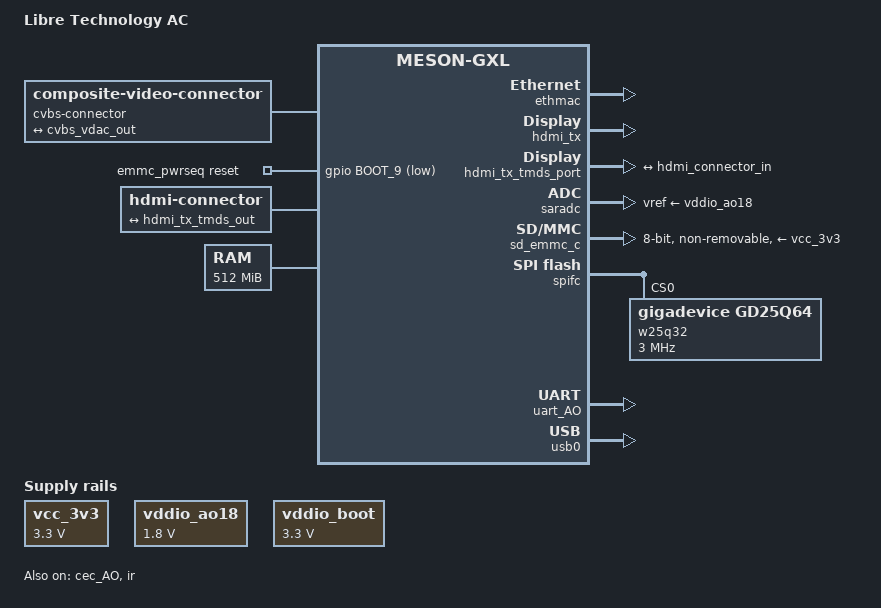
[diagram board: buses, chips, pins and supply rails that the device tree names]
// SPDX-License-Identifier: (GPL-2.0+ OR MIT)
/*
 * Copyright (c) 2018 BayLibre, SAS.
 * Author: Neil Armstrong <narmstrong@baylibre.com>
 * Author: Jerome Brunet <jbrunet@baylibre.com>
 */

/dts-v1/;

#include <dt-bindings/input/input.h>

#include "meson-gxl-s805x.dtsi"

/ {
	compatible = "libretech,ac", "amlogic,s805x", "amlogic,meson-gxl";
	model = "Libre Technology AC";

	aliases {
		serial0 = &uart_AO;
		ethernet0 = &ethmac;
		spi0 = &spifc;
	};

	chosen {
		stdout-path = "serial0:115200n8";
	};

	cvbs-connector {
		compatible = "composite-video-connector";

		port {
			cvbs_connector_in: endpoint {
				remote-endpoint = <&cvbs_vdac_out>;
			};
		};
	};

	emmc_pwrseq: emmc-pwrseq {
		compatible = "mmc-pwrseq-emmc";
		reset-gpios = <&gpio BOOT_9 GPIO_ACTIVE_LOW>;
	};

	hdmi-connector {
		compatible = "hdmi-connector";
		type = "a";

		port {
			hdmi_connector_in: endpoint {
				remote-endpoint = <&hdmi_tx_tmds_out>;
			};
		};
	};

	memory@0 {
		device_type = "memory";
		reg = <0x0 0x0 0x0 0x20000000>;
	};

	vcc_3v3: regulator-vcc_3v3 {
		compatible = "regulator-fixed";
		regulator-name = "VCC_3V3";
		regulator-min-microvolt = <3300000>;
		regulator-max-microvolt = <3300000>;
	};

	vddio_ao18: regulator-vddio_ao18 {
		compatible = "regulator-fixed";
		regulator-name = "VDDIO_AO18";
		regulator-min-microvolt = <1800000>;
		regulator-max-microvolt = <1800000>;
	};

	vddio_boot: regulator-vddio_boot {
		compatible = "regulator-fixed";
		regulator-name = "VDDIO_BOOT";
		regulator-min-microvolt = <3300000>;
		regulator-max-microvolt = <3300000>;
	};
};

&cec_AO {
	status = "okay";
	pinctrl-0 = <&ao_cec_pins>;
	pinctrl-names = "default";
	hdmi-phandle = <&hdmi_tx>;
};

&cvbs_vdac_port {
	cvbs_vdac_out: endpoint {
		remote-endpoint = <&cvbs_connector_in>;
	};
};

&ethmac {
	status = "okay";
};

&internal_phy {
	pinctrl-0 = <&eth_link_led_pins>, <&eth_act_led_pins>;
	pinctrl-names = "default";
};

&ir {
	status = "okay";
	pinctrl-0 = <&remote_input_ao_pins>;
	pinctrl-names = "default";
};

&hdmi_tx {
	status = "okay";
	pinctrl-0 = <&hdmi_hpd_pins>, <&hdmi_i2c_pins>;
	pinctrl-names = "default";
};

&hdmi_tx_tmds_port {
	hdmi_tx_tmds_out: endpoint {
		remote-endpoint = <&hdmi_connector_in>;
	};
};

&pinctrl_aobus {
	gpio-line-names = "UART TX",
			  "UART RX",
			  "7J1 Header Pin31",
			  "", "", "", "",
			  "IR In",
			  "HDMI CEC",
			  "5V VCCK Regulator",
			  /* GPIO_TEST_N */
			  "";
};

&pinctrl_periphs {
	gpio-line-names = /* Bank GPIOZ */
			  "", "", "", "", "", "", "",
			  "", "", "", "", "", "", "",
			  "Eth Link LED", "Eth Activity LED",
			  /* Bank GPIOH */
			  "HDMI HPD", "HDMI SDA", "HDMI SCL",
			  "", "7J1 Header Pin13",
			  "7J1 Header Pin15",
			  "7J1 Header Pin7",
			  "7J1 Header Pin12",
			  "7J1 Header Pin16",
			  "7J1 Header Pin18",
			  /* Bank BOOT */
			  "eMMC D0", "eMMC D1", "eMMC D2", "eMMC D3",
			  "eMMC D4", "eMMC D5", "eMMC D6", "eMMC D7",
			  "eMMC Clk", "eMMC Reset", "eMMC CMD",
			  "SPI NOR MOSI", "SPI NOR MISO", "SPI NOR Clk",
			  "", "SPI NOR Chip Select",
			  /* Bank CARD */
			  "", "", "", "", "", "", "",
			  /* Bank GPIODV */
			  "", "", "", "", "", "", "", "", "", "", "", "",
			  "", "", "", "", "", "", "", "", "", "", "", "",
			  "7J1 Header Pin27", "7J1 Header Pin28", "",
			  "7J1 Header Pin29",
			  "VCCK Regulator", "VDDEE Regulator",
			  /* Bank GPIOX */
			  "7J1 Header Pin22", "7J1 Header Pin26",
			  "7J1 Header Pin36", "7J1 Header Pin38",
			  "7J1 Header Pin40", "7J1 Header Pin37",
			  "7J1 Header Pin33", "7J1 Header Pin35",
			  "7J1 Header Pin19", "7J1 Header Pin21",
			  "7J1 Header Pin24", "7J1 Header Pin23",
			  "7J1 Header Pin8", "7J1 Header Pin10",
			  "", "", "7J1 Header Pin32", "", "",
			  /* Bank GPIOCLK */
			  "", "";
};

&saradc {
	status = "okay";
	vref-supply = <&vddio_ao18>;
};

/* eMMC */
&sd_emmc_c {
	status = "okay";
	pinctrl-0 = <&emmc_pins>;
	pinctrl-1 = <&emmc_clk_gate_pins>;
	pinctrl-names = "default", "clk-gate";

	bus-width = <8>;
	cap-mmc-highspeed;
	mmc-ddr-3_3v;
	max-frequency = <50000000>;
	non-removable;
	disable-wp;

	mmc-pwrseq = <&emmc_pwrseq>;
	vmmc-supply = <&vcc_3v3>;
	vqmmc-supply = <&vddio_boot>;
};

&spifc {
	status = "okay";
	pinctrl-0 = <&nor_pins>;
	pinctrl-names = "default";

	w25q32: spi-flash@0 {
		#address-cells = <1>;
		#size-cells = <1>;
		compatible = "gigadevice,gd25q64", "jedec,spi-nor";
		reg = <0>;
		spi-max-frequency = <3000000>;
	};
};

&uart_AO {
	status = "okay";
	pinctrl-0 = <&uart_ao_a_pins>;
	pinctrl-names = "default";
};

&usb0 {
	status = "okay";
};
